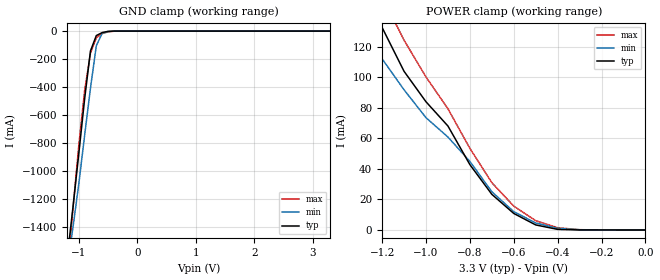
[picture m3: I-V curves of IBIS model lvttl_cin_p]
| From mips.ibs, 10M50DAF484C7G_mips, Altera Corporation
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|MODEL lvttl_cin_p
[Model]   lvttl_cin_p
Model_type   Input
Polarity   Non-Inverting
Vinl   = 0.800
Vinh   = 1.700
C_comp 4.5pF   4.5pF   4.5pF
[Model Spec]
Vinh   1.700   1.700   1.700
Vinl   0.800   0.800   0.800
[Temperature Range]   25   85   0
[Voltage Range]   3.300   3.085   3.465
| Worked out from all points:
|   GND clamp passes 1 mA (typ) near -0.44 V on its own axis
|   POWER clamp passes 1 mA (typ) near -0.42 V on its own axis
[GND Clamp]
| voltage   I (typ)   I (min)   I (max)
-3.3V     -8.634A    -7.734A    -10.13A
-1.2V     -1.626A    -1.688A    -1.731A
-1.1V     -1.26A     -1.403A    -1.274A
-1V       -875.9mA   -1.092A    -816.4mA
-900mV    -483.9mA   -744.2mA   -425.4mA
-800mV    -141.1mA   -407.1mA   -157mA
-700mV    -32.06mA   -104.2mA   -47.74mA
-600mV    -10.6mA    -15.57mA   -17.79mA
-500mV    -2.181mA   -3.118mA   -5.472mA
-400mV    -180.7uA   -399.8uA   -1.032mA
3.3V      0A         0A         0A
[Power Clamp]
| voltage   I (typ)   I (min)   I (max)
-3.3V     558.4mA    480.9mA    644mA
-1.4V     165.5mA    144mA      193.8mA
-1.3V     146.2mA    126.2mA    171.7mA
-1.2V     132.5mA    112mA      152.7mA
-1.1V     103.8mA    91.73mA    124.2mA
-1V       83.9mA     73.47mA    100.1mA
-900mV    68.03mA    60.8mA     79.33mA
-800mV    42.77mA    44.86mA    53.43mA
-700mV    23.32mA    25.03mA    30.96mA
-600mV    10.81mA    11.99mA    15.62mA
-400mV    388.6uA    1.05mA     1.475mA
0V        0A         0A         0A
